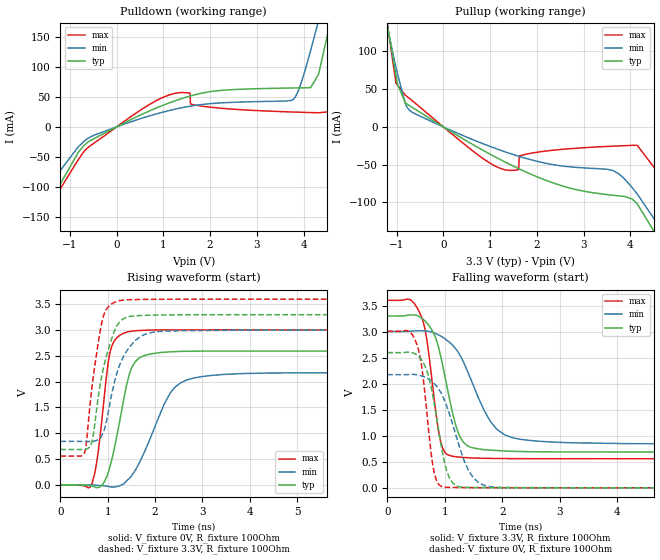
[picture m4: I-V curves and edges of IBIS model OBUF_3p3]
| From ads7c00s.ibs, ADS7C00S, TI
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|   Model
[Model]   OBUF_3p3
Model_type   Output
Polarity   Non-Inverting
Vmeas = 1.65
Vref = 0
Cref = 1pF
Rref = 10000
|   typ   min   max
C_comp   2.314pF   1.935pF   2.523pF
[Voltage Range]   3.3   3   3.6
[Temperature Range]   27   125   -40
[Pullup Reference]   3.3   3   3.6
[Pulldown Reference]   0   0   0
[Power Clamp Reference]   3.3   3   3.6
[GND Clamp Reference]   0   0   0
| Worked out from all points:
|   slope of the pulldown table from 0 to 0.495 V, typ, clamps not added: 25.6 ohm
|   slope of the pullup table from 0 to 0.495 V, typ, clamps not added: 26.8 ohm
|   falling waveform, V_fixture 3.3V, R_fixture 100Ohm: 20-80 % time 318ps typ, 541ps min, 216ps max; typ from 3.3 V to 0.686 V
|   rising waveform, V_fixture 0V, R_fixture 100Ohm: 20-80 % time 345ps typ, 624ps min, 223ps max; typ from 0 V to 2.6 V
|   rising waveform, V_fixture 3.3V, R_fixture 100Ohm: 20-80 % time 334ps typ, 402ps min, 256ps max; typ from 0.686 V to 3.3 V
|   falling waveform, V_fixture 0V, R_fixture 100Ohm: 20-80 % time 255ps typ, 400ps min, 183ps max; typ from 2.6 V to 0 V
[Pulldown]
|   Voltage   I(typ)   I(min)   I(max)
-3.3V     -1.547A    -1.4A      -1.656A
-1.924V   -249.9mA   -167.1mA   -325.9mA
-1.726V   -166.7mA   -127.6mA   -179.7mA
-676.5mV  -29.61mA   -22.8mA    -39.29mA
1.125V    40.16mA    27.38mA    53.54mA
3.769V    65.16mA    45.26mA    24.96mA
4.155V    65.93mA    128.4mA    24.04mA
4.323V    88.25mA    178mA      23.67mA
4.551V    167.2mA    247.9mA    25.32mA
4.67V     212.7mA    285.7mA    59.72mA
4.867V    290.8mA    350.8mA    156.4mA
6.6V      1.024A     945.9mA    1.104A
[Pullup]
|   Voltage   I(typ)   I(min)   I(max)
-3.3V     1.024A     841.9mA    1.283A
-1.191V   131.9mA    130.4mA    133mA
-1.013V   67.51mA    77.65mA    57.75mA
-726mV    28.19mA    21.98mA    37.72mA
1.125V    -40.25mA   -28.71mA   -52.4mA
1.61V     -55.25mA   -38.77mA   -56.41mA
1.878V    -62.72mA   -43.48mA   -34.74mA
3.62V     -90.38mA   -57.5mA    -25.48mA
4.145V    -101.6mA   -88.62mA   -24.26mA
4.709V    -158.7mA   -140.1mA   -69.81mA
5.214V    -253.9mA   -375.6mA   -140.7mA
6.6V      -1.548A    -1.693A    -1.36A
[Ramp]
R_load = 100
|   typ   min   max
dV/dt_r   1.55762/3.44526e-10   1.30401/6.23651e-10   1.80351/2.23398e-10
dV/dt_f   1.56856/3.17578e-10   1.29475/5.41349e-10   1.82553/2.15851e-10
[Falling Waveform]
V_fixture = 3.3V
V_fixture_min = 3V
V_fixture_max = 3.6V
R_fixture = 100Ohm
C_fixture = 0F
|   Time   V(typ)   V(min)   V(max)
0s        3.3V       3V         3.6V
397.3ps   3.317V     3.006V     3.613V
582.2ps   3.268V     3.016V     3.316V
689.2ps   3.162V     3.009V     2.83V
926.4ps   2.536V     2.916V     891.3mV
1.116ns   1.532V     2.759V     611.2mV
1.39ns    810.1mV    2.252V     579.4mV
1.909ns   716.5mV    1.12V      563.3mV
2.417ns   695.5mV    917.8mV    560mV
15ns      685.7mV    842.1mV    557.5mV
[Rising Waveform]
V_fixture = 0V
V_fixture_min = 0V
V_fixture_max = 0V
R_fixture = 100Ohm
C_fixture = 0F
|   Time   V(typ)   V(min)   V(max)
0s        311.1nV    238.3nV    23.45nV
666.5ps   -22.74mV   -2.934mV   22.82mV
790.6ps   -53mV      -10.08mV   593.6mV
1.043ns   342.4mV    -38.01mV   2.551V
1.159ns   794.4mV    -39.28mV   2.816V
1.424ns   2.027V     97.93mV    2.966V
1.645ns   2.445V     389mV      2.991V
2.318ns   2.579V     1.777V     3.003V
2.974ns   2.593V     2.097V     3.004V
15ns      2.596V     2.173V     3.006V
[Rising Waveform]
V_fixture = 3.3V
V_fixture_min = 3V
V_fixture_max = 3.6V
R_fixture = 100Ohm
C_fixture = 0F
|   Time   V(typ)   V(min)   V(max)
0s        685.7mV    842.1mV    557.2mV
515.9ps   686.1mV    840.3mV    635.3mV
552.6ps   694.2mV    839.9mV    837.7mV
660.6ps   812.2mV    842.7mV    1.846V
893.2ps   2.2V       995.5mV    3.222V
1.134ns   2.967V     1.966V     3.534V
1.259ns   3.165V     2.339V     3.573V
1.69ns    3.282V     2.873V     3.593V
2.188ns   3.293V     2.978V     3.597V
15ns      3.3V       3V         3.6V
[Falling Waveform]
|Gnd
V_fixture = 0V
V_fixture_min = 0V
V_fixture_max = 0V
R_fixture = 100Ohm
C_fixture = 0F
|   Time   V(typ)   V(min)   V(max)
0s        2.596V     2.173V     3.006V
378.6ps   2.604V     2.176V     3.005V
515.9ps   2.551V     2.168V     2.744V
606ps     2.437V     2.145V     2.262V
790.6ps   1.777V     2.03V      437mV
963.6ps   656.6mV    1.758V     18.13mV
1.134ns   98.53mV    1.23V      8.393mV
1.408ns   8.142mV    343mV      4.881mV
1.795ns   4.591mV    19.46mV    2.706mV
15ns      157.2nV    -3.624uV   220.7nV
